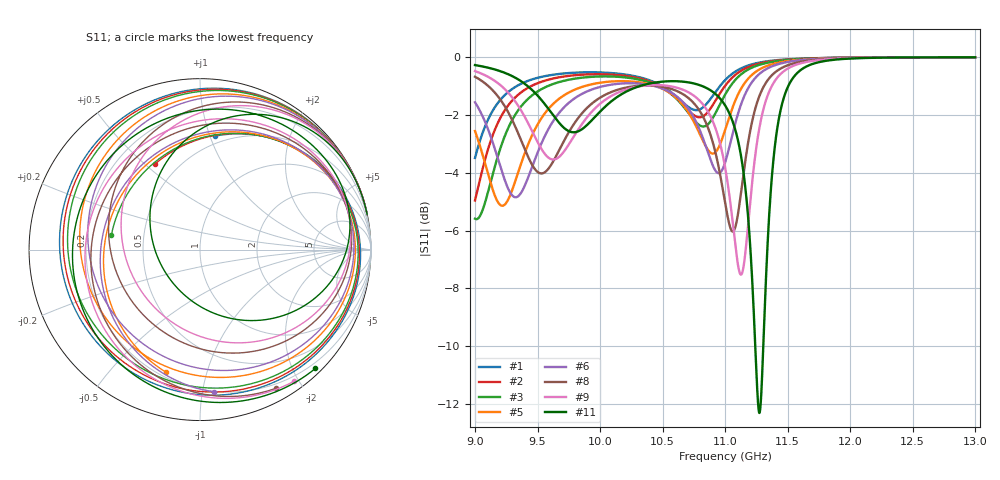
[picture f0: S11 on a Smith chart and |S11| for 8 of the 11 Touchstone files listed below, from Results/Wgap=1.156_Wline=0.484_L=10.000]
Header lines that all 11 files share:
! TOUCHSTONE file generated by CST DESIGN STUDIO
! Project name: C:\Work\MatlabApps\UnitCellOptimizationMatlab\CST\unitcell.cst
! Tree item: Tasks\Sweep1\SPara1\S-Parameters
! Header version: 2024
! Port assignment regex: !\s*Touchstone port\s*([0-9]+)\s*=\s*(CST MWS port|CST DES external port|CST DES block port)\s*(.+)\s* \(\"(.*)\"\)(\s*mode\s*([0-9]+))?.*
! Touchstone port assignment:
! Touchstone port 1 = CST DES external port 1 ("")
# GHz S MA R 50
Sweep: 9 GHz to 13 GHz
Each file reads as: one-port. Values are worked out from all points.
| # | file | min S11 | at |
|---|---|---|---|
| 1 | DS_for_MWS-run-0001.s1p | -3.5 dB | 9 GHz |
| 2 | DS_for_MWS-run-0002.s1p | -5.0 dB | 9 GHz |
| 3 | DS_for_MWS-run-0003.s1p | -5.6 dB | 9.011 GHz |
| 4 | DS_for_MWS-run-0004.s1p | -5.4 dB | 9.113 GHz |
| 5 | DS_for_MWS-run-0005.s1p | -5.1 dB | 9.218 GHz |
| 6 | DS_for_MWS-run-0006.s1p | -4.8 dB | 9.325 GHz |
| 7 | DS_for_MWS-run-0007.s1p | -4.9 dB | 11 GHz |
| 8 | DS_for_MWS-run-0008.s1p | -6.0 dB | 11.06 GHz |
| 9 | DS_for_MWS-run-0009.s1p | -7.5 dB | 11.13 GHz |
| 10 | DS_for_MWS-run-0010.s1p | -9.5 dB | 11.2 GHz |
| 11 | DS_for_MWS-run-0011.s1p | -12.3 dB | 11.28 GHz |
